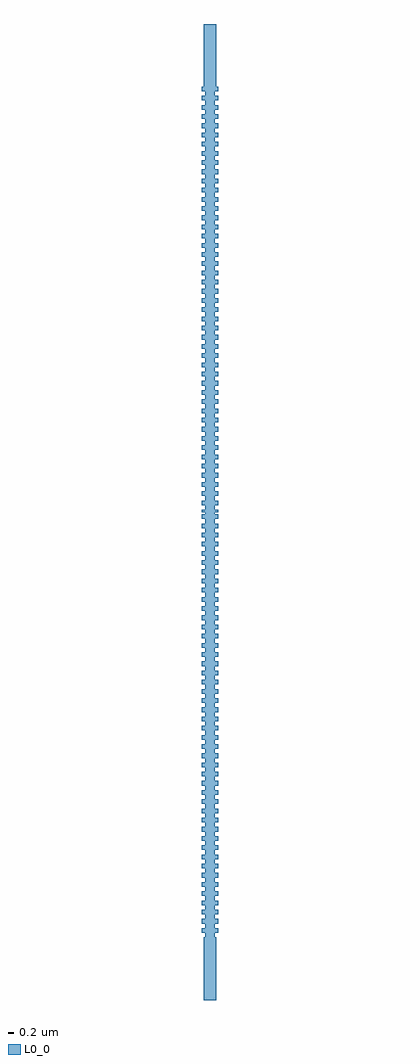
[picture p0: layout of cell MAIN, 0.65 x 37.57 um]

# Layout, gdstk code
import gdstk
lib = gdstk.Library(unit=1e-6, precision=1e-09)
def R(c, l, rs):  # rectangles x0, y0, x1, y1
    for r in rs: c.add(gdstk.rectangle(r[:2], r[2:], *l))
def A(c, l, x, y, w, h, nx, ny, dx, dy):  # array of equal rectangles
    R(c, l, [(x+i*dx, y+j*dy, x+i*dx+w, y+j*dy+h) for i in range(nx) for j in range(ny)])
L0_0 = (0, 0)

main = lib.new_cell('MAIN')
A(main, L0_0, -0.174, -16.372, 0.348, 0.177, 1, 15, 0, 0.354)
A(main, L0_0, -0.324, -16.195, 0.648, 0.177, 1, 19, 0, 0.354)
A(main, L0_0, -0.174, -10.708, 0.348, 0.177, 1, 17, 0, 0.354)
A(main, L0_0, -0.324, -9.115, 0.648, 0.177, 1, 8, 0, 0.354)
A(main, L0_0, -0.324, -6.283, 0.648, 0.176, 1, 3, 0, 0.708)
A(main, L0_0, -0.324, -5.929, 0.648, 0.177, 1, 3, 0, 0.708)
A(main, L0_0, -0.174, -4.336, 0.348, 0.177, 1, 3, 0, 0.354)
A(main, L0_0, -0.324, -4.159, 0.648, 0.177, 1, 3, 0, 0.354)
A(main, L0_0, -0.174, -2.92, 0.348, 0.177, 1, 4, 0, 0.354)
A(main, L0_0, -0.324, -2.743, 0.648, 0.177, 1, 3, 0, 0.708)
A(main, L0_0, -0.174, 0.442, 0.348, 0.177, 1, 4, 0, 0.354)
A(main, L0_0, -0.324, 1.327, 0.648, 0.177, 1, 5, 0, 0.354)
A(main, L0_0, -0.174, 2.212, 0.348, 0.177, 1, 7, 0, 0.354)
A(main, L0_0, -0.324, 3.805, 0.648, 0.177, 1, 36, 0, 0.354)
A(main, L0_0, -0.174, 5.752, 0.348, 0.177, 1, 10, 0, 0.354)
A(main, L0_0, -0.174, 9.646, 0.348, 0.177, 1, 19, 0, 0.354)
R(main, L0_0, [(-0.25,-18.784,0.25,-16.372), (-0.174,-11.062,0.174,-10.886), (-0.324,-9.469,0.324,-9.293), (-0.174,-4.691,0.174,-4.513), (-0.174,-3.274,0.174,-3.098), (-0.324,-3.098,0.324,-2.921), (-0.324,-2.389,0.324,-2.213), (-0.324,-1.681,0.324,-1.505), (-0.174,-1.505,0.174,-1.327), (-0.174,-1.15,0.174,-0.973), (-0.324,-0.973,0.324,-0.796), (-0.174,-0.796,0.174,-0.62), (-0.324,-0.62,0.324,-0.443), (-0.174,-0.442,0.174,-0.265), (-0.324,-0.265,0.324,-0.088), (-0.174,-0.088,0.174,0), (-0.324,0,0.324,0.088), (-0.174,0.089,0.174,0.265), (-0.324,0.265,0.324,0.442), (-0.324,0.619,0.324,0.796), (-0.324,0.973,0.324,1.151), (-0.174,1.859,0.174,2.035), (-0.324,3.098,0.324,3.274), (-0.324,3.452,0.324,3.628), (-0.174,4.691,0.174,4.867), (-0.174,5.044,0.174,5.221), (-0.174,5.399,0.174,5.575), (-0.174,9.293,0.174,9.469), (-0.25,16.372,0.25,18.784)])

lib.write_gds('MAIN.gds')
